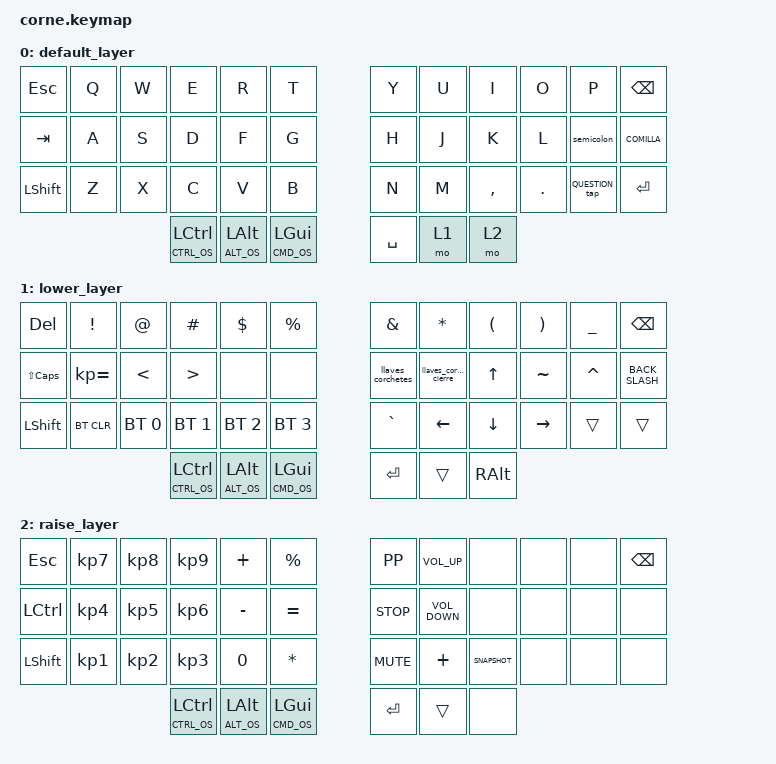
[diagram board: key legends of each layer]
/*
 * Copyright (c) 2020 The ZMK Contributors
 *
 * SPDX-License-Identifier: MIT
 */

#include <behaviors.dtsi>
#include <dt-bindings/zmk/bt.h>
#include <dt-bindings/zmk/keys.h>

/ {
    behaviors {
        COMILLA: COMILLA {
            compatible = "zmk,behavior-tap-dance";
            label = "COMILLA";
            #binding-cells = <0>;
            bindings = <&mt SINGLE_QUOTE SINGLE_QUOTE>, <&kp DOUBLE_QUOTES>;
        };

        QUESTION_tap: QUESTION_tap {
            compatible = "zmk,behavior-tap-dance";
            label = "QUESTION_TAP";
            #binding-cells = <0>;
            bindings = <&kp SLASH>, <&kp QUESTION>;

            tapping-term-ms = <200>;
        };

        BACK_SLASH: BACK_SLASH {
            compatible = "zmk,behavior-tap-dance";
            label = "BACK_SLASH";
            #binding-cells = <0>;
            bindings = <&kp BACKSLASH>, <&kp PIPE>;
        };

        llaves_corchetes: llaves_corchetes {
            compatible = "zmk,behavior-tap-dance";
            label = "LLAVES_CORCHETES";
            #binding-cells = <0>;
            bindings = <&mt LBRC LEFT_BRACE>, <&kp LEFT_BRACKET>;
        };

        llaves_corchetes_cierre: llaves_corchetes_cierre {
            compatible = "zmk,behavior-tap-dance";
            label = "LLAVES_CORCHETES_CIERRE";
            #binding-cells = <0>;
            bindings = <&mt RBRC RBRC>, <&kp RIGHT_BRACKET>;
        };

        semicolon: semicolon {
            compatible = "zmk,behavior-tap-dance";
            label = "SEMICOLON";
            #binding-cells = <0>;
            bindings = <&mt SEMI SEMI>, <&kp COLON>;
        };

        CMD_OS: CMD_OS {
            compatible = "zmk,behavior-sticky-key";
            #binding-cells = <1>;
            bindings = <&kp>;
            release-after-ms = <700>;
            quick-release;
        };
        CTRL_OS: CTRL_OS {
            compatible = "zmk,behavior-sticky-key";
            #binding-cells = <1>;
            bindings = <&kp>;
            release-after-ms = <900>;   // 800–1000 ms suele ir bien para llegar a flechas en capa
            // (sin quick-release)
        };
        ALT_OS: ALT_OS {
            compatible = "zmk,behavior-sticky-key";
            #binding-cells = <1>;
            bindings = <&kp>;
            release-after-ms = <900>;   // ajusta 700–1100 a gusto
            // sin quick-release
        };
    };

    keymap {
        compatible = "zmk,keymap";

        default_layer {
            // -----------------------------------------------------------------------------------------
            // |  TAB |  Q  |  W  |  E  |  R  |  T  |   |  Y  |  U   |  I  |  O  |  P  | BSPC |
            // | CTRL |  A  |  S  |  D  |  F  |  G  |   |  H  |  J   |  K  |  L  |  ;  |  '   |
            // | SHFT |  Z  |  X  |  C  |  V  |  B  |   |  N  |  M   |  ,  |  .  |  /  | ESC  |
            //                    | GUI | LWR | SPC |   | ENT | RSE  | ALT |

            bindings = <
&kp ESCAPE  &kp Q  &kp W  &kp E             &kp R         &kp T           &kp Y      &kp U  &kp I      &kp O    &kp P          &kp BSPC
&kp TAB     &kp A  &kp S  &kp D             &kp F         &kp G           &kp H      &kp J  &kp K      &kp L    &semicolon     &COMILLA
&kp LSHFT   &kp Z  &kp X  &kp C             &kp V         &kp B           &kp N      &kp M  &kp COMMA  &kp DOT  &QUESTION_tap  &kp ENTER
                          &CTRL_OS LCTRL  &ALT_OS LALT  &CMD_OS LGUI    &kp SPACE  &mo 1  &mo 2
            >;
        };

        lower_layer {
            // -----------------------------------------------------------------------------------------
            // |  TAB |  1  |  2  |  3  |  4  |  5  |   |  6  |  7  |  8  |  9  |  0  | BSPC |
            // | BTCLR| BT1 | BT2 | BT3 | BT4 | BT5 |   | LFT | DWN |  UP | RGT |     |      |
            // | SHFT |     |     |     |     |     |   |     |     |     |     |     |      |
            //                    | GUI |     | SPC |   | ENT |     | ALT |

            bindings = <
&kp DELETE    &kp EXCL      &kp AT        &kp POUND     &kp DLLR      &kp PRCNT       &kp AMPS           &kp STAR                  &kp LPAR  &kp RPAR   &kp UNDER  &kp BSPC
&kp LS(CAPS)  &kp KP_EQUAL  &kp LT        &kp GT        &none         &none           &llaves_corchetes  &llaves_corchetes_cierre  &kp UP    &kp TILDE  &kp CARET  &BACK_SLASH
&kp LSHFT     &bt BT_CLR    &bt BT_SEL 0  &bt BT_SEL 1  &bt BT_SEL 2  &bt BT_SEL 3    &kp GRAVE          &kp LEFT                  &kp DOWN  &kp RIGHT  &trans     &trans
                                          &CTRL_OS LCTRL        &ALT_OS LALT  &CMD_OS LGUI    &kp RET            &trans                    &kp RALT
            >;
        };

        raise_layer {
            // -----------------------------------------------------------------------------------------
            // |  TAB |  !  |  @  |  #  |  $  |  %  |   |  ^  |  &  |  *  |  (  |  )  | BSPC |
            // | CTRL |     |     |     |     |     |   |  -  |  =  |  [  |  ]  |  \  |  `   |
            // | SHFT |     |     |     |     |     |   |  _  |  +  |  {  |  }  | "|" |  ~   |
            //                    | GUI |     | SPC |   | ENT |     | ALT |

            bindings = <
&kp ESCAPE  &kp KP_NUMBER_7  &kp KP_NUMBER_8  &kp KP_NUMBER_9  &kp PLUS      &kp PRCNT       &kp K_PP    &kp C_VOL_UP       &none           &none  &none  &kp BSPC
&kp LCTRL   &kp KP_NUMBER_4  &kp KP_NUMBER_5  &kp KP_NUMBER_6  &kp MINUS     &kp EQUAL       &kp C_STOP  &kp C_VOLUME_DOWN  &none           &none  &none  &none
&kp LSHFT   &kp KP_N1        &kp KP_NUMBER_2  &kp KP_NUMBER_3  &kp NUMBER_0  &kp ASTERISK    &kp K_MUTE  &kp PLUS           &kp C_SNAPSHOT  &none  &none  &none
                                              &CTRL_OS LCTRL            &ALT_OS LALT  &CMD_OS LGUI    &kp RET     &trans             &none
            >;
        };
    };
};
